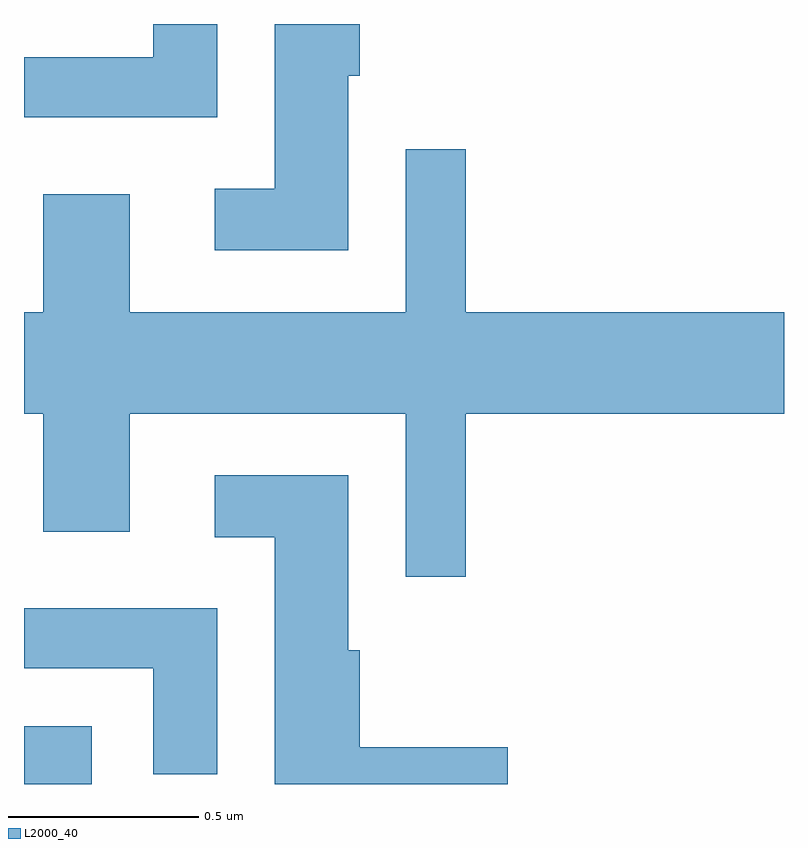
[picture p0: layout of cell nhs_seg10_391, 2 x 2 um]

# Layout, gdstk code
import gdstk
lib = gdstk.Library(unit=1e-6, precision=1e-09)
def R(c, l, rs):  # rectangles x0, y0, x1, y1
    for r in rs: c.add(gdstk.rectangle(r[:2], r[2:], *l))
def P(c, l, *ps):  # polygons
    for p in ps: c.add(gdstk.Polygon(p, *l))
L2000_40 = (2000, 40)

nhs_seg10_391 = lib.new_cell('nhs_seg10_391')
R(nhs_seg10_391, L2000_40, [(187.611,2199.522,187.789,2199.674)])
P(nhs_seg10_391, L2000_40, [(188.119,2201.522),(187.951,2201.522),(187.951,2201.434),(187.611,2201.434),(187.611,2201.276),(188.119,2201.276)],
  [(188.464,2201.386),(188.494,2201.386),(188.494,2201.522),(188.271,2201.522),(188.271,2201.089),(188.113,2201.089),(188.113,2200.926),(188.464,2200.926)],
  [(188.774,2200.496),(189.611,2200.496),(189.611,2200.764),(188.774,2200.764),(188.774,2201.193),(188.616,2201.193),(188.616,2200.764),(187.889,2200.764),(187.889,2201.074),(187.661,2201.074),(187.661,2200.764),(187.611,2200.764),(187.611,2200.496),(187.661,2200.496),(187.661,2200.186),(187.889,2200.186),(187.889,2200.496),(188.616,2200.496),(188.616,2200.068),(188.774,2200.068)],
  [(188.884,2199.619),(188.494,2199.619),(188.494,2199.874),(188.464,2199.874),(188.464,2200.334),(188.113,2200.334),(188.113,2200.171),(188.271,2200.171),(188.271,2199.522),(188.884,2199.522)],
  [(188.119,2199.984),(187.611,2199.984),(187.611,2199.826),(187.951,2199.826),(187.951,2199.548),(188.119,2199.548)])

lib.write_gds('nhs_seg10_391.gds')
